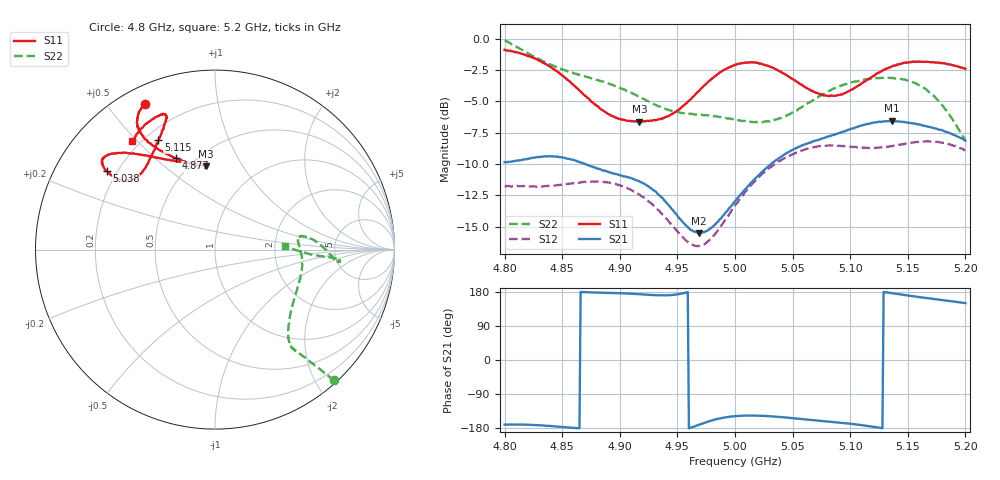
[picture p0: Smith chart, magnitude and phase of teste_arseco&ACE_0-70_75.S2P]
! Network Analyzer HP8722D
! Hewlett-Packard
! Data name: Linha & Wilkinson
! Saver's name: Rodrigo Anjos
! Comments: Teste da utilização de aquisição
! continua pelo VNA HP8722D
! Time and date: 8/5/2025 13:23
!  Frequency  S11  S21  S12  S22
# HZ  S  MA R 50
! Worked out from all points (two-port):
!   401 points, 4.8 GHz to 5.2 GHz, reference 50 ohm
!   highest |S21| = -6.55 dB at 5.136 GHz (marker M1); lowest = -15.5 dB at 4.969 GHz (marker M2)
!   |S21| within 3 dB of the highest: 4.822 GHz to 4.854 GHz (31.36 MHz wide, 0.648 % of centre); 5.038 GHz to end of sweep
!   lowest |S11| = -6.6 dB at 4.917 GHz (marker M3), VSWR 2.75, Z = 29.7 + j35.3 ohm
!   |S11| at or under -10 dB: nowhere
!   |S22| runs from -8.1 to -0.1 dB; largest |S21 - S12| = 0.83
!   S11 on the Smith chart (normalised r, x): 4.8 GHz: 0.07, +0.63; 4.877 GHz: 0.40, +0.59; 5.038 GHz: 0.16, +0.32; 5.115 GHz: 0.25, +0.58; 5.2 GHz: 0.17, +0.48
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4.8e9  0.9023 115.6  0.3219 -170.6  0.2577 -86.1  0.9835 -47.6
4.834e9  0.7989 122.3  0.3388 -173.0  0.2579 -77.1  0.81 -49.8
4.849e9  0.7188 121.9  0.3367 -176.6  0.2614 -72.0  0.7568 -50.6
4.867e9  0.6092 117.6  0.3201 179.4  0.267 -67.6  0.7125 -51.6
4.877e9  0.5544 113.1  0.3077 178.2  0.2697 -66.5  0.6917 -52.0
4.898e9  0.4815 101.9  0.2873 176.5  0.261 -66.8  0.6418 -50.4
4.917e9  0.4666 96.0  0.2703 173.5  0.2389 -68.8  0.5869 -45.6
4.934e9  0.4772 99.4  0.2375 170.8  0.2065 -69.7  0.5372 -37.2
4.95e9  0.5171 110.0  0.1965 173.2  0.1701 -65.4  0.5094 -26.5
4.969e9  0.6201 123.7  0.1676 -170.5  0.149 -47.2  0.4984 -14.8
4.981e9  0.6983 130.1  0.1784 -158.6  0.1631 -33.4  0.4903 -8.6
5e9  0.7873 137.2  0.2247 -148.3  0.216 -21.5  0.4744 -0.2
5.018e9  0.8019 141.6  0.2778 -146.7  0.2722 -18.6  0.4656 5.8
5.038e9  0.7444 144.1  0.3333 -150.1  0.3243 -18.8  0.4801 8.7
5.067e9  0.62 141.8  0.3885 -158.4  0.3683 -21.0  0.5656 4.4
5.088e9  0.5934 132.9  0.4172 -164.4  0.3743 -24.1  0.6377 -2.1
5.115e9  0.6884 117.2  0.4571 -174.1  0.3667 -27.2  0.6892 -5.6
5.134e9  0.7664 110.8  0.4678 177.3  0.3713 -29.2  0.6979 -5.1
5.136e9  0.7734 110.6  0.4702 176.3  0.372 -29.5  0.6959 -4.9
5.164e9  0.8074 113.0  0.4495 164.5  0.3891 -36.5  0.6368 -3.8
5.181e9  0.7982 119.2  0.4286 157.9  0.3841 -41.8  0.5345 -2.9
5.2e9  0.758 127.4  0.3915 150.2  0.3589 -46.9  0.3919 2.8
